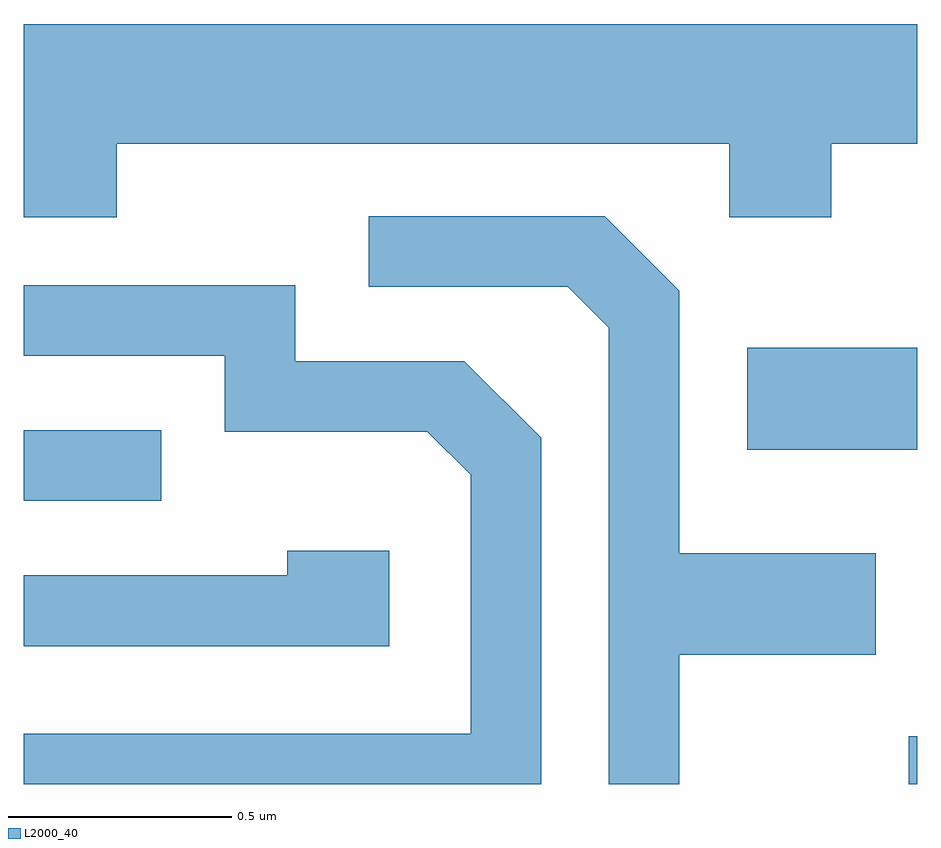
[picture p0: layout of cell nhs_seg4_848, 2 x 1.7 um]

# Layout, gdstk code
import gdstk
lib = gdstk.Library(unit=1e-6, precision=1e-09)
def R(c, l, rs):  # rectangles x0, y0, x1, y1
    for r in rs: c.add(gdstk.rectangle(r[:2], r[2:], *l))
def P(c, l, *ps):  # polygons
    for p in ps: c.add(gdstk.Polygon(p, *l))
L2000_40 = (2000, 40)

nhs_seg4_848 = lib.new_cell('nhs_seg4_848')
R(nhs_seg4_848, L2000_40, [(193.593,1279.982,193.611,1280.089), (191.611,1280.616,191.918,1280.774), (193.231,1280.731,193.611,1280.959)])
P(nhs_seg4_848, L2000_40, [(191.819,1281.416),(193.191,1281.416),(193.191,1281.251),(193.419,1281.251),(193.419,1281.416),(193.611,1281.416),(193.611,1281.684),(191.611,1281.684),(191.611,1281.251),(191.819,1281.251)],
  [(193.079,1280.271),(193.519,1280.271),(193.519,1280.499),(193.079,1280.499),(193.079,1281.087),(192.912,1281.254),(192.383,1281.254),(192.383,1281.096),(192.829,1281.096),(192.921,1281.004),(192.921,1279.982),(193.079,1279.982)],
  [(192.769,1280.757),(192.597,1280.929),(192.219,1280.929),(192.219,1281.099),(191.611,1281.099),(191.611,1280.941),(192.061,1280.941),(192.061,1280.771),(192.514,1280.771),(192.611,1280.674),(192.611,1280.094),(191.611,1280.094),(191.611,1279.982),(192.769,1279.982)],
  [(192.429,1280.504),(192.201,1280.504),(192.201,1280.449),(191.611,1280.449),(191.611,1280.291),(192.429,1280.291)])

lib.write_gds('nhs_seg4_848.gds')
